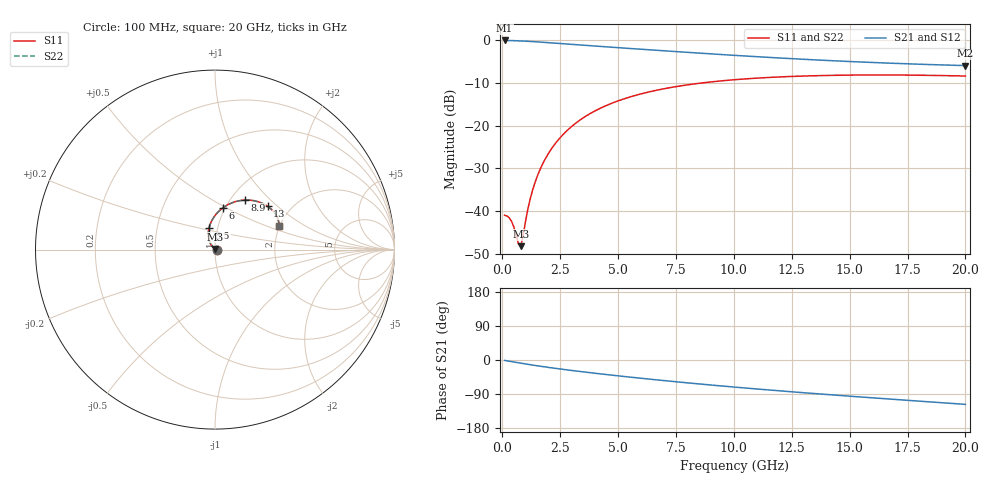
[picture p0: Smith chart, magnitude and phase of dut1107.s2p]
! Touchstone file exported from HFSS 2024.1.0
!  File:  C:/UserFiles/LocalFiles/RDL_TSV_Batchsim/temp_RDL_TSV_1107_1780101820.aedt
!  Generated:  08:54:24 AM May 30, 2026
!  Design:  RDL_TSV
!  Project:  temp_RDL_TSV_1107_1780101820
!  Setup:  Setup1
!  Solution:  Sweep
! Variables:
!  dtsv = 8.45um
!  hbump = 3um
!  htsv = 57.31um
!  ldown = 205.86um
!  lrdl = 243.51um
!  p = 40
!  p1 = 53.44um
!  rhole = 10um
!  subl = 1591.62um
!  t = 450um
!  tdown = 2.3um
!  trdl = 3.72um
!  viad = 10um
!  wdown = 26.44um
!  wrdl = 21.55um
!  xbump = 18um
# GHz S MA R 50.000000
! Terminal data exported
! Port[1] = TM1_1_T1
! Port[2] = TM1_4_T1
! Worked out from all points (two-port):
!   200 points, 100 MHz to 20 GHz, reference 50 ohm
!   highest |S21| = -0.08 dB at 100 MHz (marker M1); lowest = -6.0 dB at 20 GHz (marker M2)
!   |S21| within 3 dB of the highest: start of sweep to 8.601 GHz
!   lowest |S11| = -48.2 dB at 800 MHz (marker M3), VSWR 1.01, Z = 50.1 + j0.377 ohm
!   |S11| at or under -10 dB: start of sweep to 8.663 GHz
!   |S22| runs from -48.2 to -8.2 dB; largest |S21 - S12| = 2.9e-14
!   S11 on the Smith chart (normalised r, x): 100 MHz: 1.02, +0.00; 3.5 GHz: 0.91, +0.22; 6 GHz: 0.97, +0.48; 8.9 GHz: 1.16, +0.71; 13 GHz: 1.53, +0.87; 20 GHz: 1.98, +0.61
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0.1  0.0089 3.1  0.9908 -1.1  0.9908 -1.1  0.0089 3.1
! Gamma 0 0 0 0
! Port Impedance 50 0 50 0
0.3  0.008333 7.4  0.9886 -3.2  0.9886 -3.2  0.008335 7.4
0.4  0.007567 9.9  0.987 -4.3  0.987 -4.3  0.00757 9.9
0.5  0.006488 14.5  0.9851 -5.3  0.9851 -5.3  0.006492 14.4
0.7  0.004099 43.1  0.9806 -7.4  0.9806 -7.4  0.004103 43.0
0.8  0.003879 75.7  0.9779 -8.4  0.9779 -8.4  0.003876 75.5
1.1  0.01039 126.3  0.9687 -11.4  0.9687 -11.4  0.01037 126.3
1.2  0.01367 129.7  0.9653 -12.3  0.9653 -12.3  0.01365 129.6
1.4  0.02106 131.5  0.958 -14.2  0.958 -14.2  0.02102 131.5
1.7  0.03364 129.7  0.9461 -17.0  0.9461 -17.0  0.03358 129.7
2.1  0.0523 124.8  0.9294 -20.4  0.9294 -20.4  0.05222 124.8
2.5  0.07224 119.2  0.9125 -23.7  0.9125 -23.7  0.07214 119.2
3.5  0.1234 105.7  0.8715 -31.4  0.8715 -31.4  0.1232 105.7
4.6  0.1766 93.0  0.83 -39.1  0.83 -39.1  0.1764 93.0
6  0.2352 79.7  0.7815 -48.3  0.7815 -48.3  0.2349 79.7
6.8  0.2637 73.2  0.7556 -53.3  0.7556 -53.3  0.2633 73.2
8.9  0.3217 59.1  0.693 -65.4  0.693 -65.4  0.3212 59.1
10.1  0.3453 52.4  0.6612 -71.9  0.6612 -71.9  0.3448 52.4
13  0.3798 39.5  0.5965 -86.3  0.5965 -86.3  0.3792 39.4
13.4  0.3825 38.0  0.589 -88.2  0.589 -88.2  0.3819 37.9
16.7  0.3908 27.6  0.5376 -103.0  0.5376 -103.0  0.3901 27.5
20  0.38 20.2  0.5031 -117.1  0.5031 -117.1  0.3793 20.2
